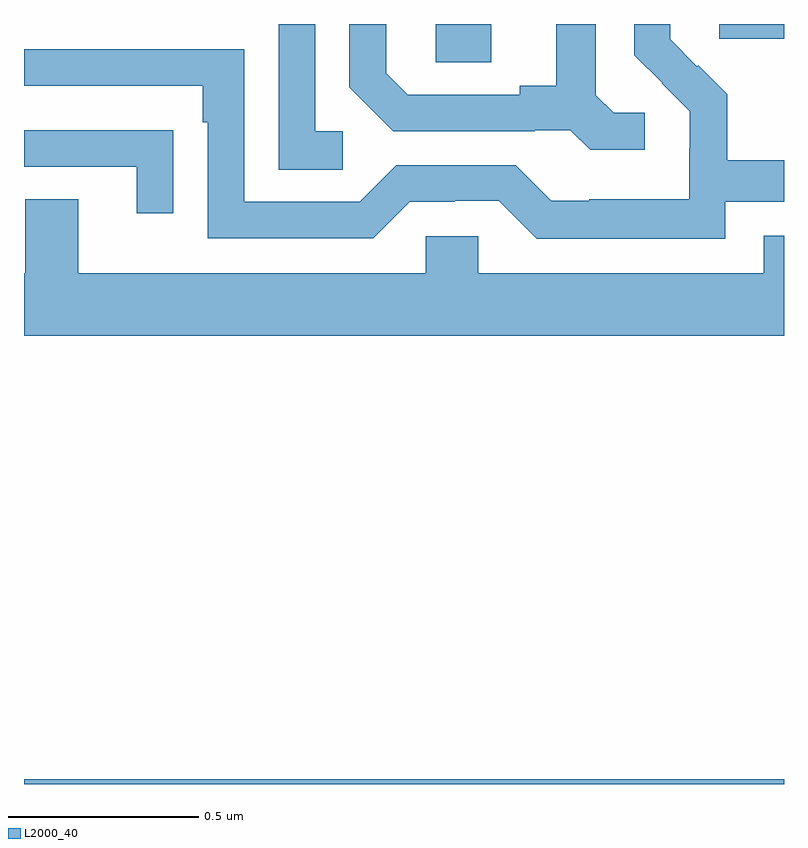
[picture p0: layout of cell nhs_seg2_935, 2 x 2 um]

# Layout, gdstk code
import gdstk
lib = gdstk.Library(unit=1e-6, precision=1e-09)
def R(c, l, rs):  # rectangles x0, y0, x1, y1
    for r in rs: c.add(gdstk.rectangle(r[:2], r[2:], *l))
def P(c, l, *ps):  # polygons
    for p in ps: c.add(gdstk.Polygon(p, *l))
L2000_40 = (2000, 40)

nhs_seg2_935 = lib.new_cell('nhs_seg2_935')
R(nhs_seg2_935, L2000_40, [(122,635.8,124,635.812), (123.084,637.699,123.229,637.8), (123.83,637.761,124,637.8)])
P(nhs_seg2_935, L2000_40, [(122.839,637.518),(122.766,637.518),(122.766,637.8),(122.67,637.8),(122.67,637.417),(122.839,637.417)],
  [(123.846,637.332),(124,637.332),(124,637.441),(123.851,637.441),(123.851,637.615),(123.774,637.692),(123.771,637.689),(123.701,637.76),(123.701,637.8),(123.606,637.8),(123.606,637.718),(123.679,637.645),(123.678,637.644),(123.752,637.57),(123.752,637.473),(123.75,637.473),(123.75,637.339),(123.487,637.339),(123.487,637.335),(123.387,637.335),(123.294,637.428),(122.979,637.428),(122.883,637.332),(122.58,637.332),(122.58,637.734),(122,637.734),(122,637.638),(122.471,637.638),(122.471,637.541),(122.484,637.541),(122.484,637.236),(122.919,637.236),(123.015,637.332),(123.134,637.332),(123.134,637.335),(123.249,637.335),(123.349,637.235),(123.846,637.235)],
  [(123.634,637.566),(123.552,637.566),(123.505,637.613),(123.505,637.8),(123.401,637.8),(123.401,637.637),(123.305,637.637),(123.305,637.614),(123.01,637.614),(122.953,637.671),(122.953,637.8),(122.856,637.8),(122.856,637.634),(122.972,637.518),(123.344,637.518),(123.344,637.521),(123.438,637.521),(123.49,637.469),(123.634,637.469)],
  [(122.393,637.52),(122.291,637.52),(122.291,637.521),(122,637.521),(122,637.425),(122.297,637.425),(122.297,637.302),(122.393,637.302)],
  [(124,637.243),(123.947,637.243),(123.947,637.144),(123.195,637.144),(123.195,637.242),(123.057,637.242),(123.057,637.144),(122.143,637.144),(122.143,637.339),(122.003,637.339),(122.003,637.144),(122,637.144),(122,636.98),(124,636.98)])

lib.write_gds('nhs_seg2_935.gds')
